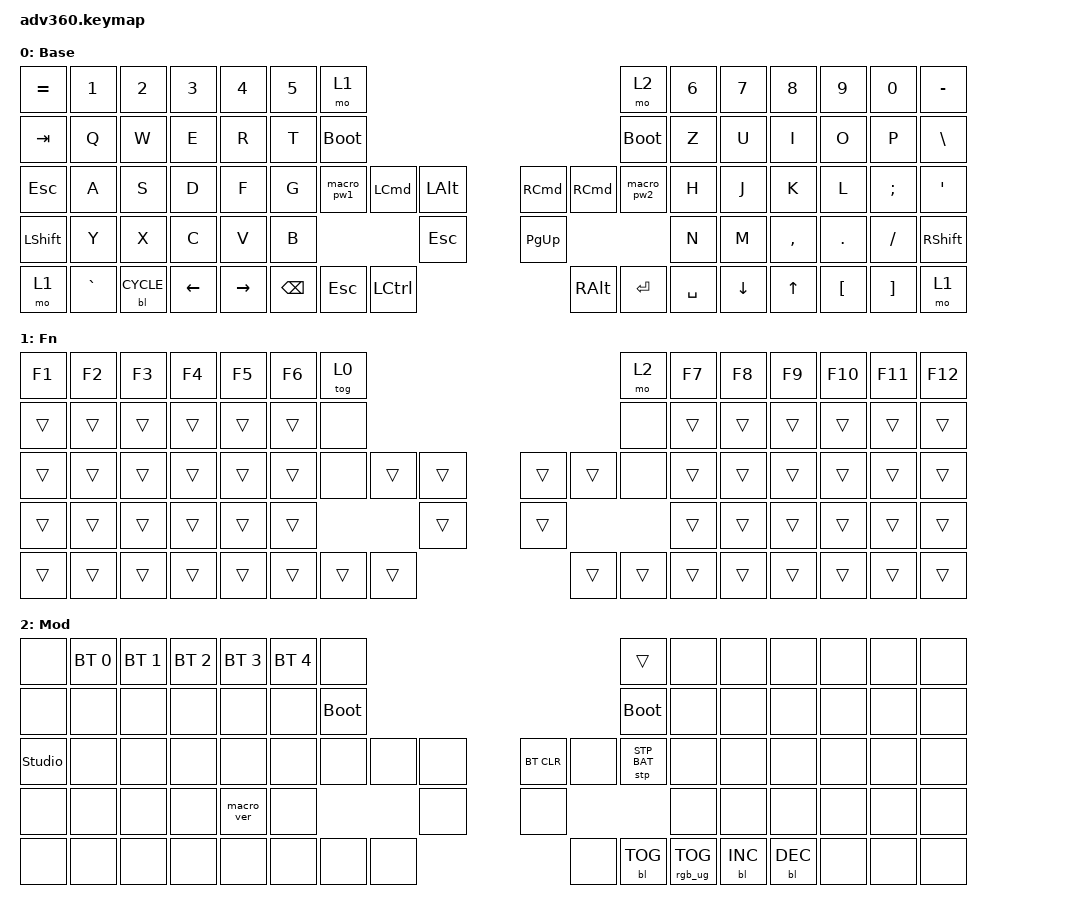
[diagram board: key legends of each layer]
#include <dt-bindings/zmk/stp.h>
#include <behaviors.dtsi>
#include <dt-bindings/zmk/backlight.h>
#include <dt-bindings/zmk/bt.h>
#include <dt-bindings/zmk/keys.h>
#include <dt-bindings/zmk/rgb.h>

/ {
    behaviors {
      #include "macros.dtsi"
      #include "version.dtsi"

        hm: homerow_mods {
            compatible = "zmk,behavior-hold-tap";
            label = "HOMEROW_MODS";
            #binding-cells = <2>;
            tapping-term-ms = <200>;
            quick_tap_ms = <175>;
            flavor = "tap-preferred";
            bindings = <&kp>, <&kp>;
        };
    };

        keymap {
        compatible = "zmk,keymap";

        default_layer {
            display-name = "Base";
            bindings = <
&kp EQUAL  &kp N1     &kp N2        &kp N3    &kp N4     &kp N5  &mo 1                                                                                      &mo 2        &kp N6  &kp N7  &kp N8     &kp N9    &kp N0    &kp MINUS
&kp TAB    &kp Q      &kp W         &kp E     &kp R      &kp T   &bootloader                                                                                &bootloader  &kp Z   &kp U   &kp I      &kp O     &kp P     &kp BSLH
&kp ESC    &kp A      &kp S         &kp D     &kp F      &kp G   &macro_pw1   &kp LEFT_COMMAND  &kp LALT              &kp RIGHT_COMMAND  &kp RIGHT_COMMAND  &macro_pw2   &kp H   &kp J   &kp K      &kp L     &kp SEMI  &kp SQT
&kp LSHFT  &kp Y      &kp X         &kp C     &kp V      &kp B                                  &kp ESCAPE            &kp PG_UP                                          &kp N   &kp M   &kp COMMA  &kp DOT   &kp FSLH  &kp RSHFT
&mo 1      &kp GRAVE  &bl BL_CYCLE  &kp LEFT  &kp RIGHT          &kp BSPC     &kp ESCAPE        &kp LEFT_CONTROL      &kp RIGHT_ALT      &kp ENTER          &kp SPACE            &kp DOWN  &kp UP   &kp LBKT  &kp RBKT  &mo 1
            >;
        };

        fn {
            display-name = "Fn";
            bindings = <
&kp F1  &kp F2  &kp F3  &kp F4  &kp F5  &kp F6  &tog 0                                      &mo 2   &kp F7  &kp F8  &kp F9  &kp F10  &kp F11  &kp F12
&trans  &trans  &trans  &trans  &trans  &trans  &none                                       &none   &trans  &trans  &trans  &trans   &trans   &trans
&trans  &trans  &trans  &trans  &trans  &trans  &none   &trans  &trans      &trans  &trans  &none   &trans  &trans  &trans  &trans   &trans   &trans
&trans  &trans  &trans  &trans  &trans  &trans                  &trans      &trans                  &trans  &trans  &trans  &trans   &trans   &trans
&trans  &trans  &trans  &trans  &trans          &trans  &trans  &trans      &trans  &trans  &trans          &trans  &trans  &trans   &trans   &trans
            >;
        };

        mod {
            display-name = "Mod";
            bindings = <
&none           &bt BT_SEL 0  &bt BT_SEL 1  &bt BT_SEL 2  &bt BT_SEL 3  &bt BT_SEL 4  &none                                                  &trans           &none  &none       &none       &none  &none  &none
&none           &none         &none         &none         &none         &none         &bootloader                                            &bootloader      &none  &none       &none       &none  &none  &none
&studio_unlock  &none         &none         &none         &none         &none         &none        &none  &none      &bt BT_CLR  &none       &stp STP_BAT     &none  &none       &none       &none  &none  &none
&none           &none         &none         &none         &macro_ver    &none                             &none      &none                                    &none  &none       &none       &none  &none  &none
&none           &none         &none         &none         &none                       &none        &none  &none      &none       &bl BL_TOG  &rgb_ug RGB_TOG         &bl BL_INC  &bl BL_DEC  &none  &none  &none
            >;
        };
    };
};
